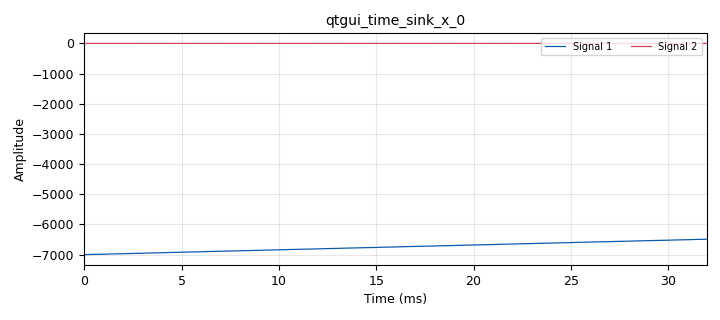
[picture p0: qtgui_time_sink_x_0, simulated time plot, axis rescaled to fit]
options:
  parameters:
    generate_options: qt_gui
    id: Diferenciador
    output_language: python
    title: Not titled yet
  states: {}

blocks:
- name: Amplitud
  id: variable_qtgui_range
  parameters:
    start: '1'
    step: '1'
    stop: '60000'
    value: '1'
  states: {}
- name: samp_rate
  id: variable
  parameters:
    value: '32000'
  states: {}
- name: analog_sig_source_x_0
  id: analog_sig_source_x
  parameters:
    amp: Amplitud
    freq: '1000'
    offset: '0'
    phase: '0'
    samp_rate: samp_rate
    type: float
    waveform: analog.GR_TRI_WAVE
  states: {}
- name: blocks_vector_source_x_0
  id: blocks_vector_source_x
  parameters:
    repeat: 'True'
    type: float
    vector: (0,1,0)
  states: {state: disabled}
- name: epy_block_0
  id: epy_block
  parameters:
    _source_code: "import numpy as np\nfrom gnuradio import gr\n\nclass blk(gr.sync_block):  \n    def __init__(self):  \n        gr.sync_block.__init__(\n            self,\n            name='e_Diff',   \n            in_sig=[np.float32],\n            out_sig=[np.float32]\n        )  # Cierre correctamente el paréntesis aquí\n        self.acum_anterior = 0\n\n    def work(self, input_items, output_items):\n        x = input_items[0]  # Señal de entrada\n        y0 = output_items[0]\n        N = len(x)\n        \n        diff = np.cumsum(x) - self.acum_anterior\n        self.acum_anterior = diff[N-1]\n        \n        y0[:] = diff\n        \n        return len(y0)\n\n"
  states: {}
- name: qtgui_time_sink_x_0
  id: qtgui_time_sink_x
  parameters:
    nconnections: '2'
    size: '1024'
    srate: samp_rate
    type: float
  states: {}

connections:
- [analog_sig_source_x_0, '0', epy_block_0, '0']
- [analog_sig_source_x_0, '0', qtgui_time_sink_x_0, '1']
- [blocks_vector_source_x_0, '0', epy_block_0, '0']
- [blocks_vector_source_x_0, '0', qtgui_time_sink_x_0, '1']
- [epy_block_0, '0', qtgui_time_sink_x_0, '0']

metadata:
  file_format: 1
  grc_version: v3.10.11.0-89-ga17f69e7
